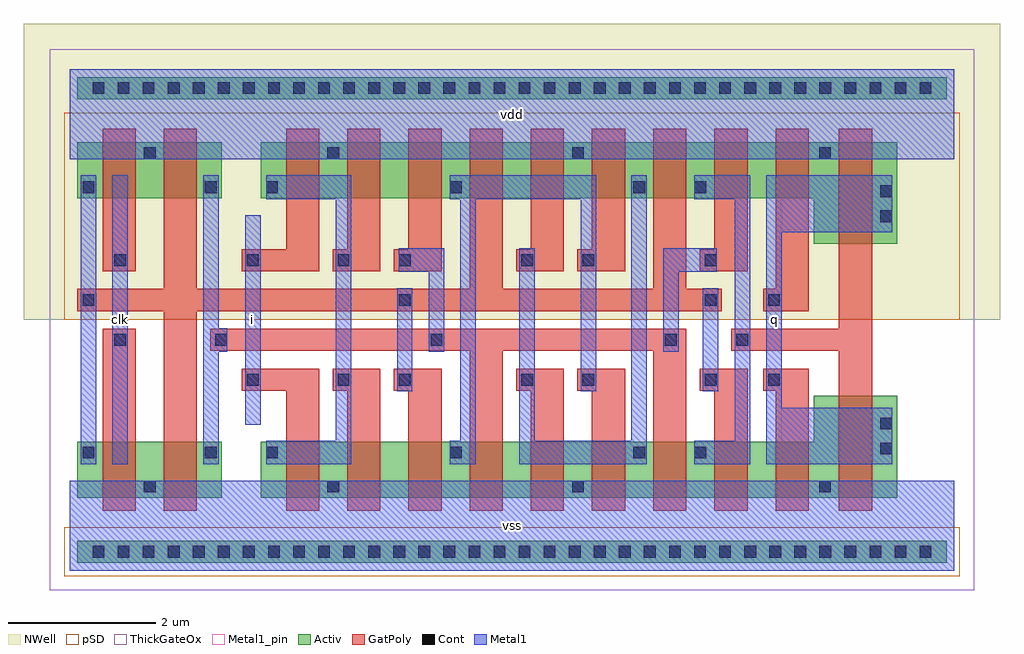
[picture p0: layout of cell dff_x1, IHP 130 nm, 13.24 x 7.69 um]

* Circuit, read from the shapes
.subckt dff_x1 clk i q vdd vss
XM1 vss clk n1 vss sg13_hv_nmos w=0.76u l=0.45u
XM2 n2 n1 vss vss sg13_hv_nmos w=0.76u l=0.45u
XM3 vss i n3 vss sg13_hv_nmos w=0.76u l=0.45u
XM4 n4 n3 vss vss sg13_hv_nmos w=0.76u l=0.45u
XM5 n5 n1 n4 vss sg13_hv_nmos w=0.76u l=0.45u
XM6 n6 n2 n5 vss sg13_hv_nmos w=0.76u l=0.45u
XM7 vss n7 n6 vss sg13_hv_nmos w=0.76u l=0.45u
XM8 n7 n5 vss vss sg13_hv_nmos w=0.76u l=0.45u
XM9 n8 n2 n7 vss sg13_hv_nmos w=0.76u l=0.45u
XM10 n9 n1 n8 vss sg13_hv_nmos w=0.76u l=0.45u
XM11 vss q n9 vss sg13_hv_nmos w=0.76u l=0.45u
XM12 q n8 vss vss sg13_hv_nmos w=1.38u l=0.45u
XM13 vdd clk n1 vdd sg13_hv_pmos w=0.76u l=0.45u
XM14 n2 n1 vdd vdd sg13_hv_pmos w=0.76u l=0.45u
XM15 vdd i n3 vdd sg13_hv_pmos w=0.76u l=0.45u
XM16 n10 n3 vdd vdd sg13_hv_pmos w=0.76u l=0.45u
XM17 n5 n2 n10 vdd sg13_hv_pmos w=0.76u l=0.45u
XM18 n11 n1 n5 vdd sg13_hv_pmos w=0.76u l=0.45u
XM19 vdd n7 n11 vdd sg13_hv_pmos w=0.76u l=0.45u
XM20 n7 n5 vdd vdd sg13_hv_pmos w=0.76u l=0.45u
XM21 n8 n1 n7 vdd sg13_hv_pmos w=0.76u l=0.45u
XM22 n12 n2 n8 vdd sg13_hv_pmos w=0.76u l=0.45u
XM23 vdd q n12 vdd sg13_hv_pmos w=0.76u l=0.45u
XM24 q n8 vdd vdd sg13_hv_pmos w=1.38u l=0.45u
.ends

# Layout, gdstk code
import gdstk
lib = gdstk.Library(unit=1e-6, precision=1e-09)
def R(c, l, rs):  # rectangles x0, y0, x1, y1
    for r in rs: c.add(gdstk.rectangle(r[:2], r[2:], *l))
def A(c, l, x, y, w, h, nx, ny, dx, dy):  # array of equal rectangles
    R(c, l, [(x+i*dx, y+j*dy, x+i*dx+w, y+j*dy+h) for i in range(nx) for j in range(ny)])
def P(c, l, *ps):  # polygons
    for p in ps: c.add(gdstk.Polygon(p, *l))
Activ = (1, 0)
GatPoly = (5, 0)
Cont = (6, 0)
Metal1 = (8, 0)
Metal1_pin = (8, 2)
pSD = (14, 0)
NWell = (31, 0)
ThickGateOx = (44, 0)

dff_x1 = lib.new_cell('dff_x1')
R(dff_x1, Activ, [(0.105,0.105,11.895,0.405), (0.105,0.99,2.065,1.75), (0.105,5.05,2.065,5.81), (0.105,6.395,11.895,6.695)])
P(dff_x1, Activ, [(10.095,4.43),(10.095,5.05),(2.595,5.05),(2.595,5.81),(11.225,5.81),(11.225,4.43)],
  [(2.595,0.99),(2.595,1.75),(10.095,1.75),(10.095,2.37),(11.225,2.37),(11.225,0.99)])
R(dff_x1, GatPoly, [(0.445,0.81,0.895,3.28), (0.445,4.06,0.895,5.99)])
P(dff_x1, GatPoly, [(1.275,0.81),(1.275,3.52),(0.105,3.52),(0.105,3.82),(1.275,3.82),(1.275,5.99),(1.725,5.99),(1.725,3.82),(5.425,3.82),(5.425,5.99),(5.875,5.99),(5.875,3.82),(7.915,3.82),(7.915,5.99),(8.365,5.99),(8.365,3.82),(8.845,3.82),(8.845,3.52),(1.725,3.52),(1.725,0.81)],
  [(8.745,0.81),(8.745,2.44),(8.545,2.44),(8.545,2.74),(9.195,2.74),(9.195,0.81)],
  [(4.595,0.81),(4.595,2.44),(4.395,2.44),(4.395,2.74),(5.045,2.74),(5.045,0.81)],
  [(8.545,4.06),(8.545,4.36),(8.745,4.36),(8.745,5.99),(9.195,5.99),(9.195,4.06)],
  [(5.425,0.81),(5.425,2.98),(1.905,2.98),(1.905,3.28),(8.365,3.28),(8.365,0.81),(7.915,0.81),(7.915,2.98),(5.875,2.98),(5.875,0.81)],
  [(4.395,4.06),(4.395,4.36),(4.595,4.36),(4.595,5.99),(5.045,5.99),(5.045,4.06)],
  [(3.565,4.06),(3.565,4.36),(3.765,4.36),(3.765,5.99),(4.215,5.99),(4.215,4.06)],
  [(3.765,0.81),(3.765,2.44),(3.565,2.44),(3.565,2.74),(4.215,2.74),(4.215,0.81)],
  [(2.335,4.06),(2.335,4.36),(2.935,4.36),(2.935,5.99),(3.385,5.99),(3.385,4.06)],
  [(2.935,0.81),(2.935,2.44),(2.335,2.44),(2.335,2.74),(3.385,2.74),(3.385,0.81)],
  [(6.885,4.06),(6.885,4.36),(7.085,4.36),(7.085,5.99),(7.535,5.99),(7.535,4.06)],
  [(7.085,0.81),(7.085,2.44),(6.885,2.44),(6.885,2.74),(7.535,2.74),(7.535,0.81)],
  [(6.255,0.81),(6.255,2.44),(6.055,2.44),(6.055,2.74),(6.705,2.74),(6.705,0.81)],
  [(6.055,4.06),(6.055,4.36),(6.255,4.36),(6.255,5.99),(6.705,5.99),(6.705,4.06)],
  [(10.435,0.81),(10.435,2.98),(8.975,2.98),(8.975,3.28),(10.435,3.28),(10.435,5.99),(10.885,5.99),(10.885,0.81)],
  [(9.575,0.81),(9.575,2.44),(9.405,2.44),(9.405,2.74),(10.025,2.74),(10.025,0.81)],
  [(9.405,3.52),(9.405,3.82),(9.575,3.82),(9.575,5.99),(10.025,5.99),(10.025,3.52)])
A(dff_x1, Cont, 0.31, 0.175, 0.16, 0.16, 34, 2, 0.34, 6.29)
A(dff_x1, Cont, 2.665, 1.52, 0.16, 0.16, 3, 2, 2.49, 3.6)
R(dff_x1, Cont, [(1.005,1.06,1.165,1.22), (3.495,1.06,3.655,1.22), (6.815,1.06,6.975,1.22), (10.165,1.06,10.325,1.22), (0.175,1.52,0.335,1.68), (1.835,1.52,1.995,1.68), (8.475,1.52,8.635,1.68), (10.995,1.575,11.155,1.735), (10.995,1.915,11.155,2.075), (2.405,2.51,2.565,2.67), (3.635,2.51,3.795,2.67), (4.465,2.51,4.625,2.67), (6.125,2.51,6.285,2.67), (6.955,2.51,7.115,2.67), (8.615,2.51,8.775,2.67), (9.475,2.51,9.635,2.67), (0.605,3.05,0.765,3.21), (1.975,3.05,2.135,3.21), (4.895,3.05,5.055,3.21), (8.075,3.05,8.235,3.21), (9.045,3.05,9.205,3.21), (0.175,3.59,0.335,3.75), (4.465,3.59,4.625,3.75), (8.615,3.59,8.775,3.75), (9.475,3.59,9.635,3.75), (0.605,4.13,0.765,4.29), (2.405,4.13,2.565,4.29), (3.635,4.13,3.795,4.29), (4.465,4.13,4.625,4.29), (6.125,4.13,6.285,4.29), (6.955,4.13,7.115,4.29), (8.615,4.13,8.775,4.29), (10.995,4.725,11.155,4.885), (10.995,5.065,11.155,5.225), (0.175,5.12,0.335,5.28), (1.835,5.12,1.995,5.28), (8.475,5.12,8.635,5.28), (1.005,5.58,1.165,5.74), (3.495,5.58,3.655,5.74), (6.815,5.58,6.975,5.74), (10.165,5.58,10.325,5.74)])
R(dff_x1, Metal1, [(0,0,12,1.22), (0.15,1.44,0.36,5.36), (0.58,1.44,0.79,5.36), (2.38,1.98,2.59,4.82), (4.44,2.43,4.65,3.83), (8.59,2.43,8.8,3.83), (0,5.58,12,6.8)])
P(dff_x1, Metal1, [(8.05,2.97),(8.05,4.37),(8.775,4.37),(8.775,4.05),(8.26,4.05),(8.26,2.97)],
  [(1.81,1.44),(1.81,5.36),(2.02,5.36),(2.02,3.29),(2.135,3.29),(2.135,2.97),(2.02,2.97),(2.02,1.44)],
  [(4.87,2.97),(4.87,4.05),(4.465,4.05),(4.465,4.37),(5.08,4.37),(5.08,2.97)],
  [(2.665,1.44),(2.665,1.76),(3.61,1.76),(3.61,5.04),(2.665,5.04),(2.665,5.36),(3.82,5.36),(3.82,1.44)],
  [(5.155,1.44),(5.155,1.76),(5.3,1.76),(5.3,5.04),(5.155,5.04),(5.155,5.36),(7.14,5.36),(7.14,2.43),(6.93,2.43),(6.93,5.04),(5.51,5.04),(5.51,1.44)],
  [(6.1,1.44),(6.1,4.37),(6.31,4.37),(6.31,1.76),(7.62,1.76),(7.62,5.36),(7.83,5.36),(7.83,1.44)],
  [(8.475,1.44),(8.475,1.76),(9.02,1.76),(9.02,5.04),(8.475,5.04),(8.475,5.36),(9.23,5.36),(9.23,1.44)],
  [(9.45,1.44),(9.45,5.36),(11.155,5.36),(11.155,4.59),(9.66,4.59),(9.66,2.21),(11.155,2.21),(11.155,1.44)])
R(dff_x1, Metal1_pin, [(0,0,12,1.22), (0.58,1.44,0.79,5.36), (9.45,1.44,9.66,5.36), (2.38,1.98,2.59,4.82), (0,5.58,12,6.8)])
R(dff_x1, pSD, [(-0.075,-0.075,12.075,0.585), (-0.075,3.4,12.075,6.21)])
R(dff_x1, NWell, [(-0.62,3.4,12.62,7.42)])
R(dff_x1, ThickGateOx, [(-0.27,-0.27,12.27,7.07)])
dff_x1.add(gdstk.Label('vdd', (6,6.19), layer=8, texttype=2))
dff_x1.add(gdstk.Label('vss', (6,0.61), layer=8, texttype=2))
dff_x1.add(gdstk.Label('clk', (0.685,3.4), layer=8, texttype=2))
dff_x1.add(gdstk.Label('i', (2.485,3.4), layer=8, texttype=2))
dff_x1.add(gdstk.Label('q', (9.555,3.4), layer=8, texttype=2))

lib.write_gds('dff_x1.gds')
